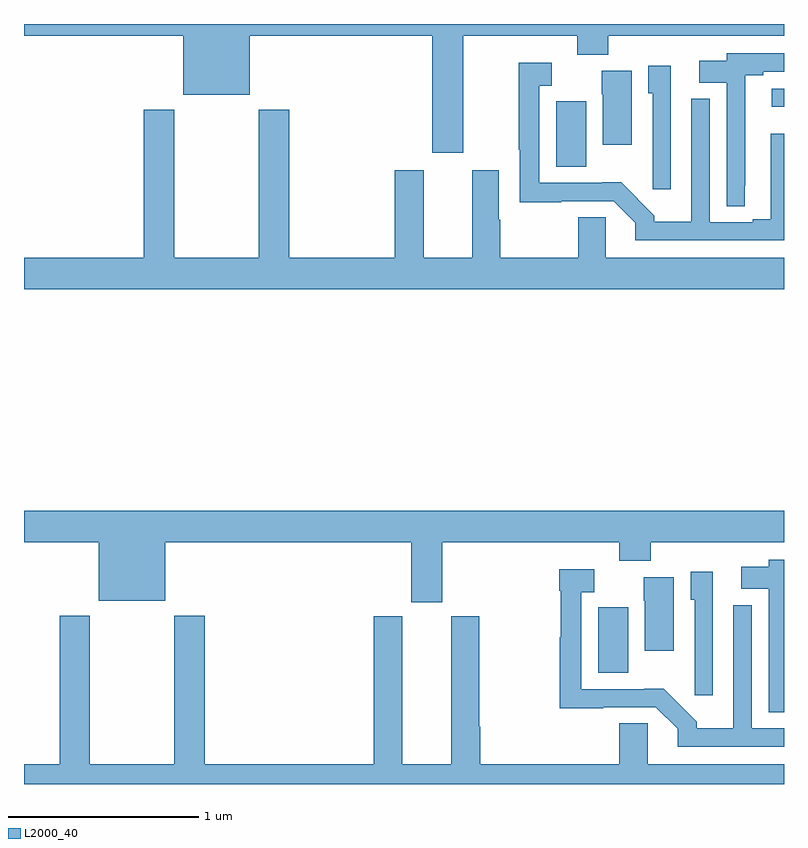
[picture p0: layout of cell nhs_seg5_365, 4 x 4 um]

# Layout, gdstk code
import gdstk
lib = gdstk.Library(unit=1e-6, precision=1e-09)
def R(c, l, rs):  # rectangles x0, y0, x1, y1
    for r in rs: c.add(gdstk.rectangle(r[:2], r[2:], *l))
def P(c, l, *ps):  # polygons
    for p in ps: c.add(gdstk.Polygon(p, *l))
L2000_40 = (2000, 40)

nhs_seg5_365 = lib.new_cell('nhs_seg5_365')
R(nhs_seg5_365, L2000_40, [(136.022,877.384,136.18,877.729), (135.8,880.048,135.958,880.393), (136.935,880.364,137,880.458)])
P(nhs_seg5_365, L2000_40, [(135.313,880.736),(135.911,880.736),(135.911,880.637),(136.076,880.637),(136.076,880.736),(137,880.736),(137,880.799),(133,880.799),(133,880.736),(133.838,880.736),(133.838,880.427),(134.188,880.427),(134.188,880.736),(135.149,880.736),(135.149,880.122),(135.313,880.122)],
  [(136.794,879.949),(136.795,879.949),(136.795,880.528),(136.891,880.528),(136.891,880.548),(137,880.548),(137,880.644),(136.698,880.644),(136.698,880.606),(136.554,880.606),(136.554,880.49),(136.698,880.49),(136.698,879.841),(136.794,879.841)],
  [(137,880.222),(136.931,880.222),(136.931,879.771),(136.835,879.771),(136.835,879.756),(136.608,879.756),(136.608,880.405),(136.512,880.405),(136.512,879.757),(136.318,879.757),(136.318,879.791),(136.144,879.965),(136.043,879.965),(136.043,879.963),(135.711,879.963),(135.711,880.473),(135.778,880.473),(135.778,880.594),(135.603,880.594),(135.603,880.136),(135.608,880.136),(135.608,879.862),(135.827,879.862),(135.827,879.867),(136.104,879.867),(136.218,879.754),(136.218,879.66),(137,879.66)],
  [(136.404,880.579),(136.286,880.579),(136.286,880.434),(136.308,880.434),(136.308,879.93),(136.404,879.93)],
  [(136.198,880.552),(136.04,880.552),(136.04,880.428),(136.046,880.428),(136.046,880.164),(136.198,880.164)],
  [(137,879.568),(136.062,879.568),(136.062,879.782),(135.916,879.782),(135.916,879.568),(135.507,879.568),(135.507,879.77),(135.499,879.77),(135.499,880.03),(135.359,880.03),(135.359,879.568),(135.103,879.568),(135.103,880.03),(134.951,880.03),(134.951,879.568),(134.396,879.568),(134.396,880.348),(134.236,880.348),(134.236,879.568),(133.791,879.568),(133.791,880.348),(133.631,880.348),(133.631,879.568),(133,879.568),(133,879.404),(137,879.404)],
  [(135.202,878.072),(136.133,878.072),(136.133,877.973),(136.298,877.973),(136.298,878.072),(137,878.072),(137,878.236),(133,878.236),(133,878.072),(133.394,878.072),(133.394,877.763),(133.744,877.763),(133.744,878.072),(135.038,878.072),(135.038,877.755),(135.202,877.755)],
  [(137,877.98),(136.92,877.98),(136.92,877.942),(136.776,877.942),(136.776,877.826),(136.92,877.826),(136.92,877.177),(137,877.177)],
  [(137,877.092),(136.83,877.092),(136.83,877.741),(136.734,877.741),(136.734,877.093),(136.54,877.093),(136.54,877.127),(136.366,877.301),(136.265,877.301),(136.265,877.299),(135.933,877.299),(135.933,877.809),(136,877.809),(136,877.93),(135.817,877.93),(135.817,877.817),(135.825,877.817),(135.825,877.572),(135.82,877.572),(135.82,877.198),(136.049,877.198),(136.049,877.203),(136.326,877.203),(136.44,877.09),(136.44,876.996),(137,876.996)],
  [(136.626,877.915),(136.508,877.915),(136.508,877.77),(136.53,877.77),(136.53,877.266),(136.626,877.266)],
  [(136.42,877.888),(136.262,877.888),(136.262,877.764),(136.268,877.764),(136.268,877.5),(136.42,877.5)],
  [(137,876.904),(136.284,876.904),(136.284,877.118),(136.133,877.118),(136.133,876.904),(135.401,876.904),(135.401,877.1),(135.396,877.1),(135.396,877.683),(135.248,877.683),(135.248,876.904),(134.992,876.904),(134.992,877.683),(134.84,877.683),(134.84,876.904),(133.952,876.904),(133.952,877.684),(133.792,877.684),(133.792,876.904),(133.347,876.904),(133.347,877.684),(133.187,877.684),(133.187,876.904),(133,876.904),(133,876.799),(137,876.799)])

lib.write_gds('nhs_seg5_365.gds')
